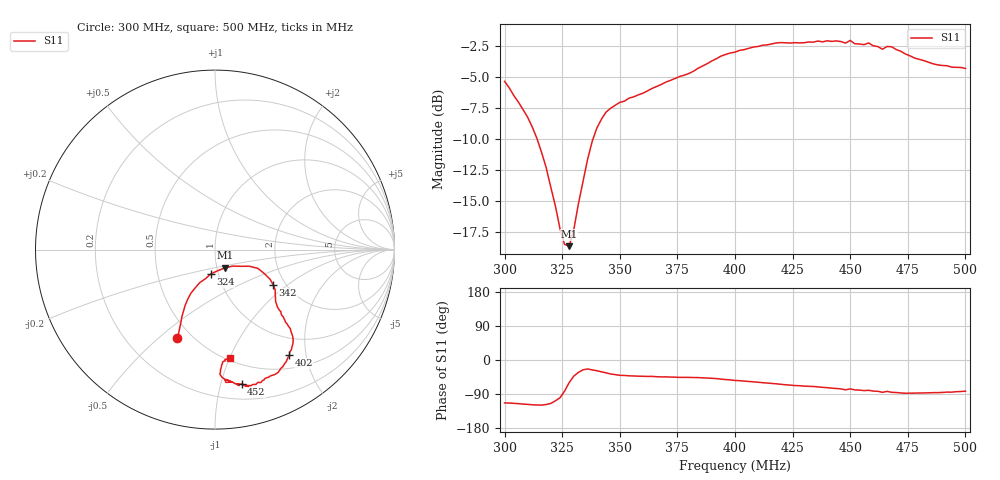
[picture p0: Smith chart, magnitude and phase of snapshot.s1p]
! User-confirmed Nitinol dipole; new 300-500MHz SOL calibration C4, load consistency checked; no balun
# Hz S RI R 50
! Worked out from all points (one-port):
!   101 points, 300 MHz to 500 MHz, reference 50 ohm
!   lowest |S11| = -18.7 dB at 328 MHz (marker M1), VSWR 1.26, Z = 55 - j11.2 ohm
!   |S11| at or under -10 dB: 314.1 MHz to 338.4 MHz (24.37 MHz wide, 7.47 % of centre)
!   S11 on the Smith chart (normalised r, x): 300 MHz: 0.41, -0.58; 324 MHz: 0.92, -0.25; 342 MHz: 1.73, -0.79; 402 MHz: 0.71, -1.71; 452 MHz: 0.32, -1.17; 500 MHz: 0.52, -1.00
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3e8  -0.2132 -0.4944
3.1e8  -0.1758 -0.3434
3.14e8  -0.1526 -0.2784
3.18e8  -0.1119 -0.2151
3.24e8  -0.0233 -0.1355
3.26e8  0.0155 -0.1174
3.28e8  0.0584 -0.1007
3.3e8  0.0993 -0.0918
3.36e8  0.2385 -0.1045
3.38e8  0.2768 -0.1351
3.42e8  0.324 -0.1954
3.5e8  0.3375 -0.287
3.76e8  0.3928 -0.4044
3.9e8  0.4336 -0.486
4e8  0.4164 -0.5703
4.02e8  0.4148 -0.5863
4.26e8  0.2966 -0.7122
4.4e8  0.2284 -0.7509
4.48e8  0.1509 -0.7534
4.5e8  0.1875 -0.7647
4.52e8  0.1486 -0.749
4.56e8  0.122 -0.7472
4.58e8  0.1346 -0.7575
4.64e8  0.0598 -0.7232
4.66e8  0.0935 -0.7386
4.68e8  0.0609 -0.74
4.76e8  0.03 -0.6817
5e8  0.0818 -0.6017
